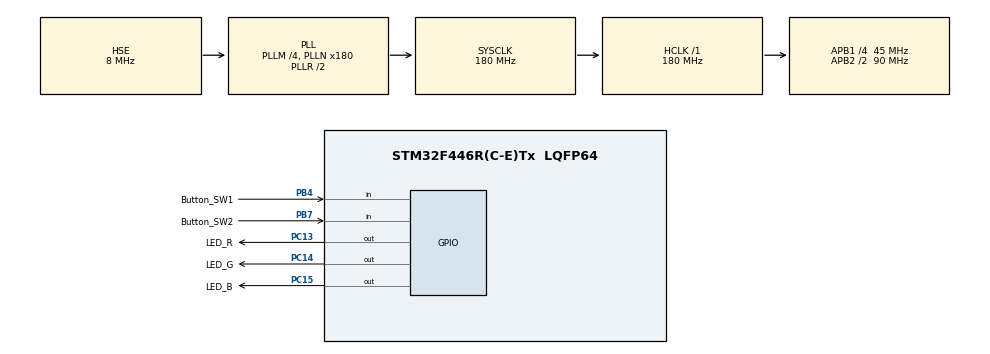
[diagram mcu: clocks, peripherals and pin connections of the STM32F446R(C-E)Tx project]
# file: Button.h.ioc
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Mcu.Family=STM32F4
Mcu.Name=STM32F446R(C-E)Tx
Mcu.Package=LQFP64
NVIC.PriorityGroup=NVIC_PRIORITYGROUP_4
PA13.Mode=Serial_Wire
PA13.Signal=SYS_JTMS-SWDIO
PA14.Mode=Serial_Wire
PA14.Signal=SYS_JTCK-SWCLK
PB4.GPIO_Label=Button_SW1
PB4.Signal=GPIO_Input
PB7.GPIO_Label=Button_SW2
PB7.Signal=GPIO_Input
PC13.GPIO_Label=LED_R
PC13.GPIO_ModeDefaultOutputPP=GPIO_MODE_OUTPUT_OD
PC13.GPIO_PuPd=GPIO_NOPULL
PC13.PinState=GPIO_PIN_SET
PC13.Signal=GPIO_Output
PC14-OSC32_IN.GPIO_Label=LED_G
PC14-OSC32_IN.GPIO_ModeDefaultOutputPP=GPIO_MODE_OUTPUT_OD
PC14-OSC32_IN.GPIO_PuPd=GPIO_NOPULL
PC14-OSC32_IN.PinState=GPIO_PIN_SET
PC14-OSC32_IN.Signal=GPIO_Output
PC15-OSC32_OUT.GPIO_Label=LED_B
PC15-OSC32_OUT.GPIO_ModeDefaultOutputPP=GPIO_MODE_OUTPUT_OD
PC15-OSC32_OUT.GPIO_PuPd=GPIO_NOPULL
PC15-OSC32_OUT.PinState=GPIO_PIN_SET
PC15-OSC32_OUT.Signal=GPIO_Output
PH0-OSC_IN.Mode=HSE-External-Oscillator
PH0-OSC_IN.Signal=RCC_OSC_IN
PH1-OSC_OUT.Mode=HSE-External-Oscillator
PH1-OSC_OUT.Signal=RCC_OSC_OUT
ProjectManager.HeapSize=0x200
ProjectManager.StackSize=0x400
ProjectManager.TargetToolchain=Makefile
RCC.AHBFreq_Value=180000000
RCC.APB1CLKDivider=RCC_HCLK_DIV4
RCC.APB1Freq_Value=45000000
RCC.APB1TimFreq_Value=90000000
RCC.APB2CLKDivider=RCC_HCLK_DIV2
RCC.APB2Freq_Value=90000000
RCC.APB2TimFreq_Value=180000000
RCC.CortexFreq_Value=180000000
RCC.HCLKFreq_Value=180000000
RCC.HSE_VALUE=8000000
RCC.PLLM=4
RCC.PLLN=180
RCC.PLLSourceVirtual=RCC_PLLSOURCE_HSE
RCC.SYSCLKFreq_VALUE=180000000
RCC.SYSCLKSource=RCC_SYSCLKSOURCE_PLLRCLK
RCC.USBFreq_Value=180000000
RCC.VCOOutputFreq_Value=360000000
board=custom

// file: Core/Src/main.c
/* USER CODE BEGIN Header */
/**
 ******************************************************************************
 * @file           : main.c
 * @brief          : Main program body
 ******************************************************************************
 * @attention
 *
 * Copyright (c) 2023 STMicroelectronics.
 * All rights reserved.
 *
 * This software is licensed under terms that can be found in the LICENSE file
 * in the root directory of this software component.
 * If no LICENSE file comes with this software, it is provided AS-IS.
 *
 ******************************************************************************
 */
/* USER CODE END Header */
#include "main.h"
#include "gpio.h"

/* USER CODE BEGIN Includes */

#include "SEML_common.h"
#include "button.h"

/* USER CODE END Includes */

void SystemClock_Config(void);

/* USER CODE BEGIN 0 */

Button_t SW1, SW2;
uint8_t SW_State = 0; // 状态缓存

// 灯光控制函数

void lighting() {
  if (SW_State == 0b11) { // 亮蓝灯
    HAL_GPIO_WritePin(GPIOC, LED_R_Pin | LED_G_Pin, GPIO_PIN_SET);
    HAL_GPIO_WritePin(GPIOC, LED_B_Pin, GPIO_PIN_RESET);
  } else if (SW_State == 0b01) { // 亮绿灯
    HAL_GPIO_WritePin(GPIOC, LED_R_Pin | LED_B_Pin, GPIO_PIN_SET);
    HAL_GPIO_WritePin(GPIOC, LED_G_Pin, GPIO_PIN_RESET);
  } else if (SW_State == 0b10) { // 亮红灯
    HAL_GPIO_WritePin(GPIOC, LED_G_Pin | LED_B_Pin, GPIO_PIN_SET);
    HAL_GPIO_WritePin(GPIOC, LED_R_Pin, GPIO_PIN_RESET);
  } else { // 灭灯
    HAL_GPIO_WritePin(GPIOC, LED_R_Pin | LED_G_Pin | LED_B_Pin, GPIO_PIN_SET);
  }
}

// 回调函数

void SW1_Single_Clink(void *arg) {
  SW_State ^= 0b01;
  lighting();
}

void SW2_Single_Clink(void *arg) {
  SW_State ^= 0b10;
  lighting();
}

/* USER CODE END 0 */

int main(void) {

  /* MCU Configuration--------------------------------------------------------*/

  /* Reset of all peripherals, Initializes the Flash interface and the Systick.
   */
  HAL_Init();

  /* Configure the system clock */
  SystemClock_Config();

  /* Initialize all configured peripherals */
  MX_GPIO_Init();
  /* USER CODE BEGIN 2 */

  // Button.h 初始化按键并绑定回调函数

  SEML_GPIO_Pin_Register(&SW1.GPIO_Handle, GPIOB, Button_SW1_Pin);
  SEML_GPIO_Pin_Register(&SW2.GPIO_Handle, GPIOB, Button_SW2_Pin);

  Button_Init(&SW1, 0);
  Button_Init(&SW2, 0);

  Button_Register(&SW1, Single_Clink, SW1_Single_Clink);
  Button_Register(&SW2, Single_Clink, SW2_Single_Clink);

  /* USER CODE END 2 */

  /* Infinite loop */
  /* USER CODE BEGIN WHILE */
  while (1) {
    Button_Scan(NULL);

    /* USER CODE END WHILE */

  }
}

void SystemClock_Config(void) {
  RCC_OscInitTypeDef RCC_OscInitStruct = {0};
  RCC_ClkInitTypeDef RCC_ClkInitStruct = {0};

  /** Configure the main internal regulator output voltage
   */
  __HAL_RCC_PWR_CLK_ENABLE();
  __HAL_PWR_VOLTAGESCALING_CONFIG(PWR_REGULATOR_VOLTAGE_SCALE1);

  /** Initializes the RCC Oscillators according to the specified parameters
   * in the RCC_OscInitTypeDef structure.
   */
  RCC_OscInitStruct.OscillatorType = RCC_OSCILLATORTYPE_HSE;
  RCC_OscInitStruct.HSEState = RCC_HSE_ON;
  RCC_OscInitStruct.PLL.PLLState = RCC_PLL_ON;
  RCC_OscInitStruct.PLL.PLLSource = RCC_PLLSOURCE_HSE;
  RCC_OscInitStruct.PLL.PLLM = 4;
  RCC_OscInitStruct.PLL.PLLN = 180;
  RCC_OscInitStruct.PLL.PLLP = RCC_PLLP_DIV2;
  RCC_OscInitStruct.PLL.PLLQ = 2;
  RCC_OscInitStruct.PLL.PLLR = 2;
  if (HAL_RCC_OscConfig(&RCC_OscInitStruct) != HAL_OK) {
    Error_Handler();
  }

  /** Activate the Over-Drive mode
   */
  if (HAL_PWREx_EnableOverDrive() != HAL_OK) {
    Error_Handler();
  }

  /** Initializes the CPU, AHB and APB buses clocks
   */
  RCC_ClkInitStruct.ClockType = RCC_CLOCKTYPE_HCLK | RCC_CLOCKTYPE_SYSCLK |
                                RCC_CLOCKTYPE_PCLK1 | RCC_CLOCKTYPE_PCLK2;
  RCC_ClkInitStruct.SYSCLKSource = RCC_SYSCLKSOURCE_PLLRCLK;
  RCC_ClkInitStruct.AHBCLKDivider = RCC_SYSCLK_DIV1;
  RCC_ClkInitStruct.APB1CLKDivider = RCC_HCLK_DIV4;
  RCC_ClkInitStruct.APB2CLKDivider = RCC_HCLK_DIV2;

  if (HAL_RCC_ClockConfig(&RCC_ClkInitStruct, FLASH_LATENCY_5) != HAL_OK) {
    Error_Handler();
  }
}

void Error_Handler(void) {
  __disable_irq();
  while (1) {
  }
}

#ifdef USE_FULL_ASSERT
/**
 * @brief  Reports the name of the source file and the source line number
 *         where the assert_param error has occurred.
 * @param  file: pointer to the source file name
 * @param  line: assert_param error line source number
 * @retval None
 */
void assert_failed(uint8_t *file, uint32_t line) {
  /* USER CODE BEGIN 6 */
  /* User can add his own implementation to report the file name and line
     number, ex: printf("Wrong parameters value: file %s on line %d\r\n", file,
     line) */
  /* USER CODE END 6 */
}
#endif /* USE_FULL_ASSERT */
